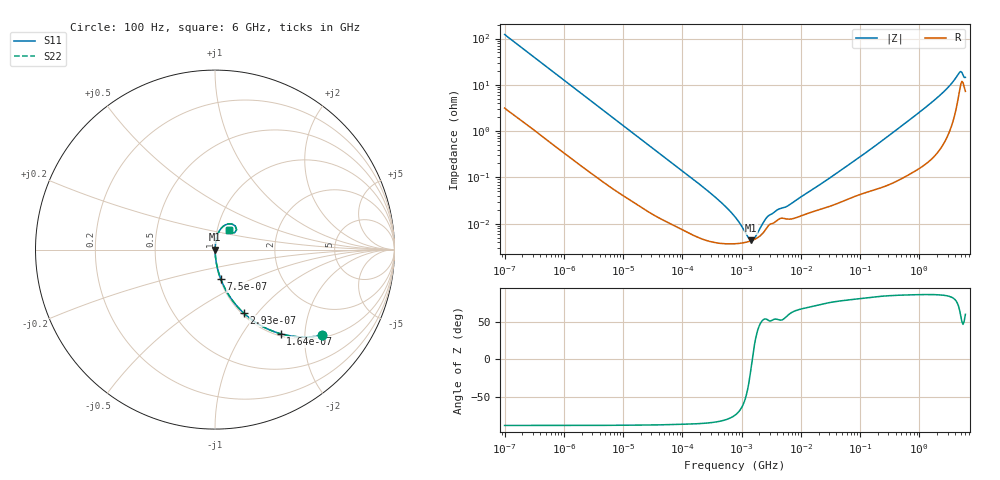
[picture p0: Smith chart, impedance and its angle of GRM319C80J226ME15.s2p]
!Murata Part Number: GRM319C80J226ME15
!These Parameters are Measured in Series Mode Connection
!Data Generated on Mar 30, 2021
!  o--ll--o
!Port1  Port2
!  o------o
!Operation Temp=25[degC], DC Bias Voltage=0[V]
!Freq. Start=100[Hz] Stop=6[GHz] 401[Steps]
# Hz S RI R 50
!Freq.(Hz) S11(Real) S11(Imag) S21(Real) S21(Imag) S12(Real) S12(Imag) S22(Real) S22(Imag)
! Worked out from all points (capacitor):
!   401 points, 100 Hz to 6 GHz, reference 50 ohm
!   read as one part in series: C = 12.9 uF near 109 Hz
!   lowest |Z| = 4.35 mohm at 1.45 MHz (marker M1)
!   S11 on the Smith chart (normalised r, x): 100 Hz: 1.06, -2.45; 164 Hz: 1.04, -1.51; 293 Hz: 1.02, -0.85; 750 Hz: 1.01, -0.34; 6 GHz: 1.14, +0.25
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100  0.5969 -0.4778  0.4031 0.4778  0.4031 0.4778  0.5969 -0.4778
164  0.3654 -0.4687  0.6346 0.4687  0.6346 0.4687  0.3654 -0.4687
293  0.1596 -0.3532  0.8404 0.3532  0.8404 0.3532  0.1596 -0.3532
438  0.0815 -0.2608  0.9185 0.2608  0.9185 0.2608  0.0815 -0.2608
750  0.0317 -0.1626  0.9683 0.1626  0.9683 0.1626  0.0317 -0.1626
2008  0.00578 -0.0635  0.9942 0.0635  0.9942 0.0635  0.00578 -0.0635
40335  0.000144 -0.00336  0.9999 0.00336  0.9999 0.00336  0.000144 -0.00336
316350  4.04e-05 -0.000427  1 0.000427  1 0.000427  4.04e-05 -0.000427
774597  3.68e-05 -0.000135  1 0.000135  1 0.000135  3.68e-05 -0.000135
968953  3.78e-05 -8.69e-05  1 8.69e-05  1 8.69e-05  3.78e-05 -8.69e-05
1449809  4.27e-05 -8.5e-06  1 8.5e-06  1 8.5e-06  4.27e-05 -8.5e-06
2169299  5.79e-05 6.99e-05  0.9999 -6.99e-05  0.9999 -6.99e-05  5.79e-05 6.99e-05
2837864  9.06e-05 0.000116  0.9999 -0.000116  0.9999 -0.000116  9.06e-05 0.000116
3882480  0.000114 0.000155  0.9999 -0.000155  0.9999 -0.000155  0.000114 0.000155
6075234  0.000125 0.000209  0.9999 -0.000209  0.9999 -0.000209  0.000125 0.000209
1.555665e7  0.000179 0.000513  0.9998 -0.000513  0.9998 -0.000513  0.000179 0.000513
3.124326e8  0.000764 0.0081  0.9992 -0.0081  0.9992 -0.0081  0.000764 0.0081
1.95892e9  0.00581 0.0507  0.9942 -0.0507  0.9942 -0.0507  0.00581 0.0507
3.505958e9  0.0235 0.1023  0.9765 -0.1023  0.9765 -0.1023  0.0235 0.1023
4.586474e9  0.0749 0.1435  0.9251 -0.1435  0.9251 -0.1435  0.0749 0.1435
5.016141e9  0.1128 0.1318  0.8872 -0.1318  0.8872 -0.1318  0.1128 0.1318
6e9  0.0799 0.1076  0.9201 -0.1076  0.9201 -0.1076  0.0799 0.1076
